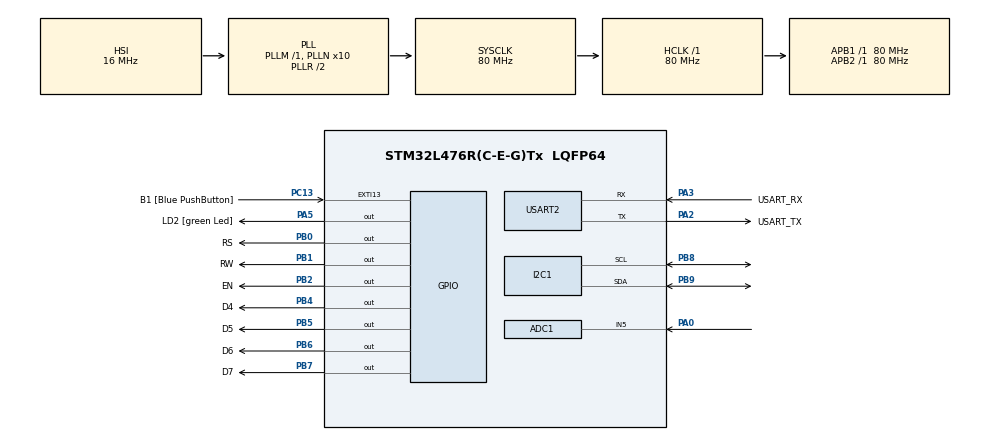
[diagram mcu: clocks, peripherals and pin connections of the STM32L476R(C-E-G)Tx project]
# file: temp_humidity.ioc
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ADC1.Channel-0\#ChannelRegularConversion=ADC_CHANNEL_5
ADC1.NbrOfConversionFlag=1
ADC1.OffsetNumber-0\#ChannelRegularConversion=ADC_OFFSET_NONE
ADC1.Rank-0\#ChannelRegularConversion=1
ADC1.SamplingTime-0\#ChannelRegularConversion=ADC_SAMPLETIME_2CYCLES_5
ADC1.master=1
I2C1.Timing=0x10909CEC
Mcu.Family=STM32L4
Mcu.Name=STM32L476R(C-E-G)Tx
Mcu.Package=LQFP64
NVIC.PriorityGroup=NVIC_PRIORITYGROUP_4
PA0.Signal=ADCx_IN5
PA13\ (JTMS-SWDIO).GPIO_Label=TMS
PA13\ (JTMS-SWDIO).Mode=Serial_Wire
PA13\ (JTMS-SWDIO).Signal=SYS_JTMS-SWDIO
PA14\ (JTCK-SWCLK).GPIO_Label=TCK
PA14\ (JTCK-SWCLK).Mode=Serial_Wire
PA14\ (JTCK-SWCLK).Signal=SYS_JTCK-SWCLK
PA2.GPIO_Label=USART_TX
PA2.GPIO_Mode=GPIO_MODE_AF_PP
PA2.GPIO_PuPd=GPIO_NOPULL
PA2.GPIO_Speed=GPIO_SPEED_FREQ_VERY_HIGH
PA2.Mode=Asynchronous
PA2.Signal=USART2_TX
PA3.GPIO_Label=USART_RX
PA3.GPIO_Mode=GPIO_MODE_AF_PP
PA3.GPIO_PuPd=GPIO_NOPULL
PA3.GPIO_Speed=GPIO_SPEED_FREQ_VERY_HIGH
PA3.Mode=Asynchronous
PA3.Signal=USART2_RX
PA5.GPIO_Label=LD2 [green Led]
PA5.GPIO_ModeDefaultOutputPP=GPIO_MODE_OUTPUT_PP
PA5.GPIO_PuPd=GPIO_NOPULL
PA5.GPIO_Speed=GPIO_SPEED_FREQ_LOW
PA5.Signal=GPIO_Output
PB0.GPIO_Label=RS
PB0.Signal=GPIO_Output
PB1.GPIO_Label=RW
PB1.Signal=GPIO_Output
PB2.GPIO_Label=EN
PB2.Signal=GPIO_Output
PB3\ (JTDO-TRACESWO).GPIO_Label=SWO
PB3\ (JTDO-TRACESWO).Signal=SYS_JTDO-SWO
PB4\ (NJTRST).GPIO_Label=D4
PB4\ (NJTRST).Signal=GPIO_Output
PB5.GPIO_Label=D5
PB5.Signal=GPIO_Output
PB6.GPIO_Label=D6
PB6.Signal=GPIO_Output
PB7.GPIO_Label=D7
PB7.Signal=GPIO_Output
PB8.Mode=I2C
PB8.Signal=I2C1_SCL
PB9.Mode=I2C
PB9.Signal=I2C1_SDA
PC13.GPIO_Label=B1 [Blue PushButton]
PC13.GPIO_ModeDefaultEXTI=GPIO_MODE_IT_FALLING
PC13.GPIO_PuPd=GPIO_NOPULL
PC13.Signal=GPXTI13
PC14-OSC32_IN\ (PC14).Mode=LSE-External-Oscillator
PC14-OSC32_IN\ (PC14).Signal=RCC_OSC32_IN
PC15-OSC32_OUT\ (PC15).Mode=LSE-External-Oscillator
PC15-OSC32_OUT\ (PC15).Signal=RCC_OSC32_OUT
PH0-OSC_IN\ (PH0).Signal=RCC_OSC_IN
PH1-OSC_OUT\ (PH1).Signal=RCC_OSC_OUT
ProjectManager.HeapSize=0x200
ProjectManager.StackSize=0x400
ProjectManager.TargetToolchain=STM32CubeIDE
RCC.ADCFreq_Value=64000000
RCC.AHBFreq_Value=80000000
RCC.APB1Freq_Value=80000000
RCC.APB1TimFreq_Value=80000000
RCC.APB2Freq_Value=80000000
RCC.APB2TimFreq_Value=80000000
RCC.CortexFreq_Value=80000000
RCC.HCLKFreq_Value=80000000
RCC.HSE_VALUE=8000000
RCC.HSI_VALUE=16000000
RCC.MSI_VALUE=4000000
RCC.PLLN=10
RCC.PLLSourceVirtual=RCC_PLLSOURCE_HSI
RCC.PREFETCH_ENABLE=1
RCC.SYSCLKFreq_VALUE=80000000
RCC.SYSCLKSource=RCC_SYSCLKSOURCE_PLLCLK
RCC.USBFreq_Value=64000000
RCC.VCOOutputFreq_Value=160000000
SH.ADCx_IN5.0=ADC1_IN5,IN5-Single-Ended
USART2.VirtualMode-Asynchronous=VM_ASYNC
board=NUCLEO-L476RG

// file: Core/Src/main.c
/* USER CODE BEGIN Header */
/**
  ******************************************************************************
  * @file           : main.c
  * @brief          : Main program body
  ******************************************************************************
  * @attention
  *
  * <h2><center>&copy; Copyright (c) 2020 STMicroelectronics.
  * All rights reserved.</center></h2>
  *
  * This software component is licensed by ST under BSD 3-Clause license,
  * the "License"; You may not use this file except in compliance with the
  * License. You may obtain a copy of the License at:
  *                        opensource.org/licenses/BSD-3-Clause
  *
  ******************************************************************************
  */
/* USER CODE END Header */

#include "main.h"

/* USER CODE BEGIN Includes */
#include "stm32l4xx_hal_gpio.h"
#include "stm32l4xx_hal_rcc.h"
#include <string.h> // for sprintf
#include <stdio.h>
// Library for BMP280
#include "bmp280.h"
// Library for LCD Screen HD44780
#include "lcd_1602.h"
#include "stdint.h"
/* USER CODE END Includes */

// Analog TypeDef variable
ADC_HandleTypeDef hadc1;

// I2C Typedef variable
I2C_HandleTypeDef hi2c1;

// UART Typedef variable
UART_HandleTypeDef huart2;

/* USER CODE BEGIN PV */

// Declare variable for BMP280 usage
BMP280_HandleTypedef bmp280;

// float variable to store taken values from sensor
float pressure, temperature, humidity;

/* USER CODE END PV */

void SystemClock_Config(void);
static void MX_GPIO_Init(void);
static void MX_USART2_UART_Init(void);
static void MX_ADC1_Init(void);
static void MX_I2C1_Init(void);
/* USER CODE BEGIN PFP */
uint16_t set_humidity_value(uint16_t humidity_value);
/* USER CODE END PFP */

/* USER CODE BEGIN 0 */

uint16_t set_humidity_value(uint16_t humidity_value){
	uint16_t result, in_min, in_max, out_min, out_max;
	in_min = 5000;
	in_max = 1000;
	out_min = 0;
	out_max = 100;
	result = (humidity_value - in_min ) * (out_max - out_min) / (in_max - in_min) + out_min;
	return result;
}

/* USER CODE END 0 */

int main(void)
{
  /* USER CODE BEGIN 1 */

	// humidity line stores the actual value taken from ADC
	uint16_t humidity_line;

	// humidity msg stores the message to send to UART2
	char humidity_msg[16];

	// humidity format used to format in a proper way the output
	// Output should be from 0% to 100%. Similar to map function for arduino.
	uint16_t humidity_format;

	// i2c - bmp280 message box
	char data_i2c[50];

	// char box for LCD
	char lcd_message[16];
	char lcd_message2[16];

  /* USER CODE END 1 */

  /* MCU Configuration--------------------------------------------------------*/

  /* Reset of all peripherals, Initializes the Flash interface and the Systick. */
  HAL_Init();

  /* Configure the system clock */
  SystemClock_Config();

  /* Initialize all configured peripherals */
  MX_GPIO_Init();
  MX_USART2_UART_Init();
  MX_ADC1_Init();
  MX_I2C1_Init();
  /* USER CODE BEGIN 2 */
  // Initialization of the LCD Screen
  lcd_init();

  // Start bmp initialization with default parameters provided by library
  bmp280_init_default_params(&bmp280.params);
  // Get I2C address of BMP280 slave
  bmp280.addr = BMP280_I2C_ADDRESS_0;
  // Provide the I2C address to the bmp280 struct
  bmp280.i2c = &hi2c1;

  /*
   * 			CHECK BMP280 CONNECTION
   *
   *
   */
  // If the bmp will not be initialized with all parameters correctly,
  // then initilization will be failed and the message will be provided via UART to terminal
  while(!bmp280_init(&bmp280, &bmp280.params)){
	  sprintf( data_i2c, "BMP280 initialization failed\r\n" );
	  HAL_UART_Transmit(&huart2, (uint8_t*)data_i2c , strlen(data_i2c), HAL_MAX_DELAY);
	  HAL_Delay(2000);
  }

  // Check if I2C has been found
  // 0XED is the address for initialize the communication - start
  // If the device has been found, then toggle the led and send the message via UART to terminal
  if ( (HAL_I2C_IsDeviceReady(&hi2c1,0xED, 2,10)) == HAL_OK){
    	HAL_GPIO_TogglePin(GPIOA,GPIO_PIN_5);
    	sprintf( data_i2c, "BMP280 initialized correctly\r\n" );
    	HAL_UART_Transmit(&huart2, (uint8_t*)data_i2c , strlen(data_i2c), HAL_MAX_DELAY);
    	HAL_Delay(2000);

    }

  /* USER CODE END 2 */

  /* Infinite loop */
  /* USER CODE BEGIN WHILE */
  while (1)
  {

	  /*
	   * 		CHECK HUMIDITY SENSOR CONNECTION
	   */
	  //Start adc for &hadc1
	  HAL_ADC_Start(&hadc1);

	  // Controller start to poll the ADC device
	  HAL_ADC_PollForConversion(&hadc1, HAL_MAX_DELAY);

	  // bmp280 function get values for temperature, pressure and humidity in case it is a bme280
	  // If it won't be able to get appropriate information then message "Reading failed will be transmitted".
	  while (!bmp280_read_float(&bmp280, &temperature, &pressure, &humidity)) {
	  	  	sprintf(data_i2c,"BMP280 reading failed\n");
	  	  	HAL_UART_Transmit(&huart2, (uint8_t *)data_i2c, strlen(data_i2c), HAL_MAX_DELAY);
	  	  	HAL_Delay(2000);
	  	  	}

	  // Get the value of ADC and store it in humidity line variable
	  humidity_line = HAL_ADC_GetValue(&hadc1);
	  humidity_format = set_humidity_value(humidity_line);
	  sprintf(humidity_msg,"Humidity : %hu%%\r\n",humidity_format);
	  HAL_UART_Transmit(&huart2, (uint8_t*)humidity_msg, strlen(humidity_msg), HAL_MAX_DELAY);
	  humidity_format = set_humidity_value(humidity_line);
	  // Send data via LCD
	  sprintf(lcd_message,"Hum : %hu%%",humidity_format);
	  lcd_gotoxy(0, 0);
	  lcd_puts(lcd_message);
	  HAL_Delay(100);
	  // Transmit the humidity_msg through &huart2

	  sprintf(data_i2c,"Pressure: %.2f Pa, Temperature: %.2f C\r\n",pressure, temperature);
	  HAL_UART_Transmit(&huart2, (uint8_t *)data_i2c, strlen(data_i2c), HAL_MAX_DELAY);

	  // Send data via LCD
	  sprintf(lcd_message2,"Temp: %.2f C", temperature);
	  lcd_gotoxy(0, 1);
	  lcd_puts(lcd_message2);

	  HAL_Delay(100);

    /* USER CODE END WHILE */

  }
}

void SystemClock_Config(void)
{
  RCC_OscInitTypeDef RCC_OscInitStruct = {0};
  RCC_ClkInitTypeDef RCC_ClkInitStruct = {0};
  RCC_PeriphCLKInitTypeDef PeriphClkInit = {0};

  /** Initializes the CPU, AHB and APB busses clocks
  */
  RCC_OscInitStruct.OscillatorType = RCC_OSCILLATORTYPE_HSI;
  RCC_OscInitStruct.HSIState = RCC_HSI_ON;
  RCC_OscInitStruct.HSICalibrationValue = RCC_HSICALIBRATION_DEFAULT;
  RCC_OscInitStruct.PLL.PLLState = RCC_PLL_ON;
  RCC_OscInitStruct.PLL.PLLSource = RCC_PLLSOURCE_HSI;
  RCC_OscInitStruct.PLL.PLLM = 1;
  RCC_OscInitStruct.PLL.PLLN = 10;
  RCC_OscInitStruct.PLL.PLLP = RCC_PLLP_DIV7;
  RCC_OscInitStruct.PLL.PLLQ = RCC_PLLQ_DIV2;
  RCC_OscInitStruct.PLL.PLLR = RCC_PLLR_DIV2;
  if (HAL_RCC_OscConfig(&RCC_OscInitStruct) != HAL_OK)
  {
    Error_Handler();
  }
  /** Initializes the CPU, AHB and APB busses clocks
  */
  RCC_ClkInitStruct.ClockType = RCC_CLOCKTYPE_HCLK|RCC_CLOCKTYPE_SYSCLK
                              |RCC_CLOCKTYPE_PCLK1|RCC_CLOCKTYPE_PCLK2;
  RCC_ClkInitStruct.SYSCLKSource = RCC_SYSCLKSOURCE_PLLCLK;
  RCC_ClkInitStruct.AHBCLKDivider = RCC_SYSCLK_DIV1;
  RCC_ClkInitStruct.APB1CLKDivider = RCC_HCLK_DIV1;
  RCC_ClkInitStruct.APB2CLKDivider = RCC_HCLK_DIV1;

  if (HAL_RCC_ClockConfig(&RCC_ClkInitStruct, FLASH_LATENCY_4) != HAL_OK)
  {
    Error_Handler();
  }
  PeriphClkInit.PeriphClockSelection = RCC_PERIPHCLK_USART2|RCC_PERIPHCLK_I2C1
                              |RCC_PERIPHCLK_ADC;
  PeriphClkInit.Usart2ClockSelection = RCC_USART2CLKSOURCE_PCLK1;
  PeriphClkInit.I2c1ClockSelection = RCC_I2C1CLKSOURCE_PCLK1;
  PeriphClkInit.AdcClockSelection = RCC_ADCCLKSOURCE_PLLSAI1;
  PeriphClkInit.PLLSAI1.PLLSAI1Source = RCC_PLLSOURCE_HSI;
  PeriphClkInit.PLLSAI1.PLLSAI1M = 1;
  PeriphClkInit.PLLSAI1.PLLSAI1N = 8;
  PeriphClkInit.PLLSAI1.PLLSAI1P = RCC_PLLP_DIV7;
  PeriphClkInit.PLLSAI1.PLLSAI1Q = RCC_PLLQ_DIV2;
  PeriphClkInit.PLLSAI1.PLLSAI1R = RCC_PLLR_DIV2;
  PeriphClkInit.PLLSAI1.PLLSAI1ClockOut = RCC_PLLSAI1_ADC1CLK;
  if (HAL_RCCEx_PeriphCLKConfig(&PeriphClkInit) != HAL_OK)
  {
    Error_Handler();
  }
  /** Configure the main internal regulator output voltage
  */
  if (HAL_PWREx_ControlVoltageScaling(PWR_REGULATOR_VOLTAGE_SCALE1) != HAL_OK)
  {
    Error_Handler();
  }
}

static void MX_ADC1_Init(void)
{

  ADC_MultiModeTypeDef multimode = {0};
  ADC_ChannelConfTypeDef sConfig = {0};

  /** Common config
  */
  hadc1.Instance = ADC1;
  hadc1.Init.ClockPrescaler = ADC_CLOCK_ASYNC_DIV1;
  hadc1.Init.Resolution = ADC_RESOLUTION_12B;
  hadc1.Init.DataAlign = ADC_DATAALIGN_RIGHT;
  hadc1.Init.ScanConvMode = ADC_SCAN_DISABLE;
  hadc1.Init.EOCSelection = ADC_EOC_SINGLE_CONV;
  hadc1.Init.LowPowerAutoWait = DISABLE;
  hadc1.Init.ContinuousConvMode = DISABLE;
  hadc1.Init.NbrOfConversion = 1;
  hadc1.Init.DiscontinuousConvMode = DISABLE;
  hadc1.Init.NbrOfDiscConversion = 1;
  hadc1.Init.ExternalTrigConv = ADC_SOFTWARE_START;
  hadc1.Init.ExternalTrigConvEdge = ADC_EXTERNALTRIGCONVEDGE_NONE;
  hadc1.Init.DMAContinuousRequests = DISABLE;
  hadc1.Init.Overrun = ADC_OVR_DATA_PRESERVED;
  hadc1.Init.OversamplingMode = DISABLE;
  if (HAL_ADC_Init(&hadc1) != HAL_OK)
  {
    Error_Handler();
  }
  /** Configure the ADC multi-mode
  */
  multimode.Mode = ADC_MODE_INDEPENDENT;
  if (HAL_ADCEx_MultiModeConfigChannel(&hadc1, &multimode) != HAL_OK)
  {
    Error_Handler();
  }
  /** Configure Regular Channel
  */
  sConfig.Channel = ADC_CHANNEL_5;
  sConfig.Rank = ADC_REGULAR_RANK_1;
  sConfig.SamplingTime = ADC_SAMPLETIME_2CYCLES_5;
  sConfig.SingleDiff = ADC_SINGLE_ENDED;
  sConfig.OffsetNumber = ADC_OFFSET_NONE;
  sConfig.Offset = 0;
  if (HAL_ADC_ConfigChannel(&hadc1, &sConfig) != HAL_OK)
  {
    Error_Handler();
  }

}

static void MX_I2C1_Init(void)
{

  hi2c1.Instance = I2C1;
  hi2c1.Init.Timing = 0x10909CEC;
  hi2c1.Init.OwnAddress1 = 0;
  hi2c1.Init.AddressingMode = I2C_ADDRESSINGMODE_7BIT;
  hi2c1.Init.DualAddressMode = I2C_DUALADDRESS_DISABLE;
  hi2c1.Init.OwnAddress2 = 0;
  hi2c1.Init.OwnAddress2Masks = I2C_OA2_NOMASK;
  hi2c1.Init.GeneralCallMode = I2C_GENERALCALL_DISABLE;
  hi2c1.Init.NoStretchMode = I2C_NOSTRETCH_DISABLE;
  if (HAL_I2C_Init(&hi2c1) != HAL_OK)
  {
    Error_Handler();
  }
  /** Configure Analogue filter
  */
  if (HAL_I2CEx_ConfigAnalogFilter(&hi2c1, I2C_ANALOGFILTER_ENABLE) != HAL_OK)
  {
    Error_Handler();
  }
  /** Configure Digital filter
  */
  if (HAL_I2CEx_ConfigDigitalFilter(&hi2c1, 0) != HAL_OK)
  {
    Error_Handler();
  }

}

static void MX_USART2_UART_Init(void)
{

  huart2.Instance = USART2;
  huart2.Init.BaudRate = 115200;
  huart2.Init.WordLength = UART_WORDLENGTH_8B;
  huart2.Init.StopBits = UART_STOPBITS_1;
  huart2.Init.Parity = UART_PARITY_NONE;
  huart2.Init.Mode = UART_MODE_TX_RX;
  huart2.Init.HwFlowCtl = UART_HWCONTROL_NONE;
  huart2.Init.OverSampling = UART_OVERSAMPLING_16;
  huart2.Init.OneBitSampling = UART_ONE_BIT_SAMPLE_DISABLE;
  huart2.AdvancedInit.AdvFeatureInit = UART_ADVFEATURE_NO_INIT;
  if (HAL_UART_Init(&huart2) != HAL_OK)
  {
    Error_Handler();
  }

}

static void MX_GPIO_Init(void)
{
  GPIO_InitTypeDef GPIO_InitStruct = {0};

  /* GPIO Ports Clock Enable */
  __HAL_RCC_GPIOC_CLK_ENABLE();
  __HAL_RCC_GPIOH_CLK_ENABLE();
  __HAL_RCC_GPIOA_CLK_ENABLE();
  __HAL_RCC_GPIOB_CLK_ENABLE();

  /*Configure GPIO pin Output Level */
  HAL_GPIO_WritePin(LD2_GPIO_Port, LD2_Pin, GPIO_PIN_RESET);

  /*Configure GPIO pin Output Level */
  HAL_GPIO_WritePin(GPIOB, RS_Pin|RW_Pin|EN_Pin|D4_Pin
                          |D5_Pin|D6_Pin|D7_Pin, GPIO_PIN_RESET);

  /*Configure GPIO pin : B1_Pin */
  GPIO_InitStruct.Pin = B1_Pin;
  GPIO_InitStruct.Mode = GPIO_MODE_IT_FALLING;
  GPIO_InitStruct.Pull = GPIO_NOPULL;
  HAL_GPIO_Init(B1_GPIO_Port, &GPIO_InitStruct);

  /*Configure GPIO pin : LD2_Pin */
  GPIO_InitStruct.Pin = LD2_Pin;
  GPIO_InitStruct.Mode = GPIO_MODE_OUTPUT_PP;
  GPIO_InitStruct.Pull = GPIO_NOPULL;
  GPIO_InitStruct.Speed = GPIO_SPEED_FREQ_LOW;
  HAL_GPIO_Init(LD2_GPIO_Port, &GPIO_InitStruct);

  /*Configure GPIO pins : RS_Pin RW_Pin EN_Pin D4_Pin
                           D5_Pin D6_Pin D7_Pin */
  GPIO_InitStruct.Pin = RS_Pin|RW_Pin|EN_Pin|D4_Pin
                          |D5_Pin|D6_Pin|D7_Pin;
  GPIO_InitStruct.Mode = GPIO_MODE_OUTPUT_PP;
  GPIO_InitStruct.Pull = GPIO_NOPULL;
  GPIO_InitStruct.Speed = GPIO_SPEED_FREQ_LOW;
  HAL_GPIO_Init(GPIOB, &GPIO_InitStruct);

}

void Error_Handler(void)
{
}

/************************ (C) COPYRIGHT STMicroelectronics *****END OF FILE****/
